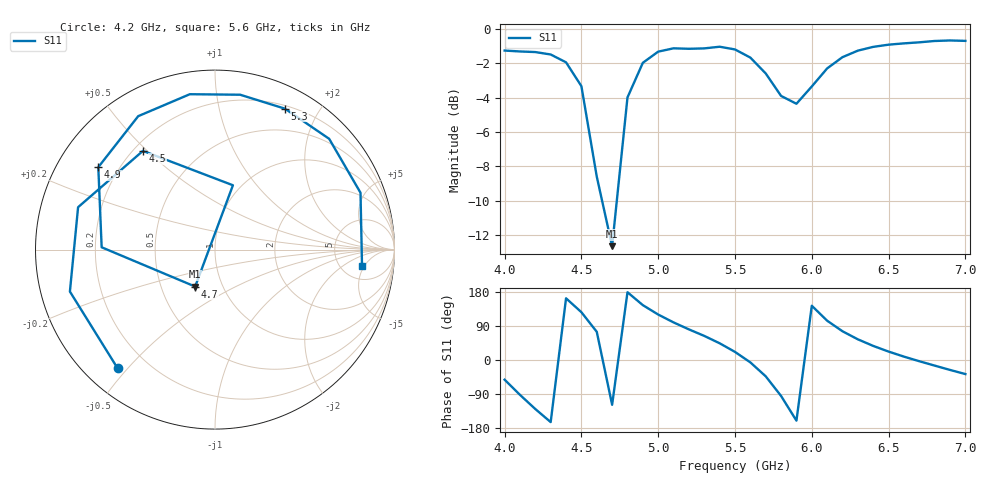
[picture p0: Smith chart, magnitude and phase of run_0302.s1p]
! Touchstone file exported from HFSS 2024.2.0
!  File:  C:/Users/wsak9/Desktop/Sim Fast/Widenad Patch/WP_AI_V1_sweep.aedt
!  Generated:  03:44:43 AM Oct 14, 2026
!  Design:  A1_model
!  Project:  WP_AI_V1_sweep
!  Setup:  Setup1
!  Solution:  Sweep
! Variables:
!  Air_gap = 2.25mm
!  Curve_Amp1 = 3.5
!  Curve_len1 = 1
!  Curve_pos = 12.15mm
!  Extra = 2.26mm
!  H_sub = 0.79mm
!  L_Patch = 20.3mm
!  L_Patch1 = 12.79mm
!  Sx = 1.22mm
!  Sy = 1.98mm
!  WS = 1.19mm
!  W_Patch = 17.42mm
!  W_Patch1 = 10.53mm
!Data is not renormalized
# GHz S MA
! Terminal data exported
! Port[1] = 1
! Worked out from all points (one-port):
!   31 points, 4 GHz to 7 GHz, reference per port
!   lowest |S11| = -12.6 dB at 4.7 GHz (marker M1), VSWR 1.61
!   |S11| at or under -10 dB: 4.635 GHz to 4.73 GHz (95.4 MHz wide, 2.04 % of centre)
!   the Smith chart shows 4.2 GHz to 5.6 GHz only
!   S11 on the Smith chart (normalised r, x): 4.2 GHz: 0.10, -0.47; 4.5 GHz: 0.24, +0.49; 4.7 GHz: 0.74, -0.32; 4.9 GHz: 0.12, +0.31; 5.3 GHz: 0.23, +1.59; 5.6 GHz: 7.83, -4.44
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4  0.8639 -51.9
4.1  0.8587 -92.0
4.2  0.8553 -129.4
4.3  0.8415 -163.9
4.4  0.7985 162.8
4.5  0.6809 126.1
4.6  0.3721 74.4
4.7  0.2338 -118.2
4.8  0.6316 178.8
4.9  0.7961 144.8
5  0.8577 119.9
5.1  0.877 99.2
5.2  0.8742 80.8
5.3  0.8766 63.6
5.4  0.8863 44.1
5.5  0.8704 21.3
5.6  0.8242 -6.3
5.7  0.7414 -43.1
5.8  0.638 -94.9
5.9  0.6054 -160.0
6  0.6796 143.2
6.1  0.7668 103.7
6.2  0.8267 75.8
6.3  0.8635 54.5
6.4  0.8855 37.1
6.5  0.8986 22.2
6.7  0.9128 -3.2
7  0.9216 -37.1
